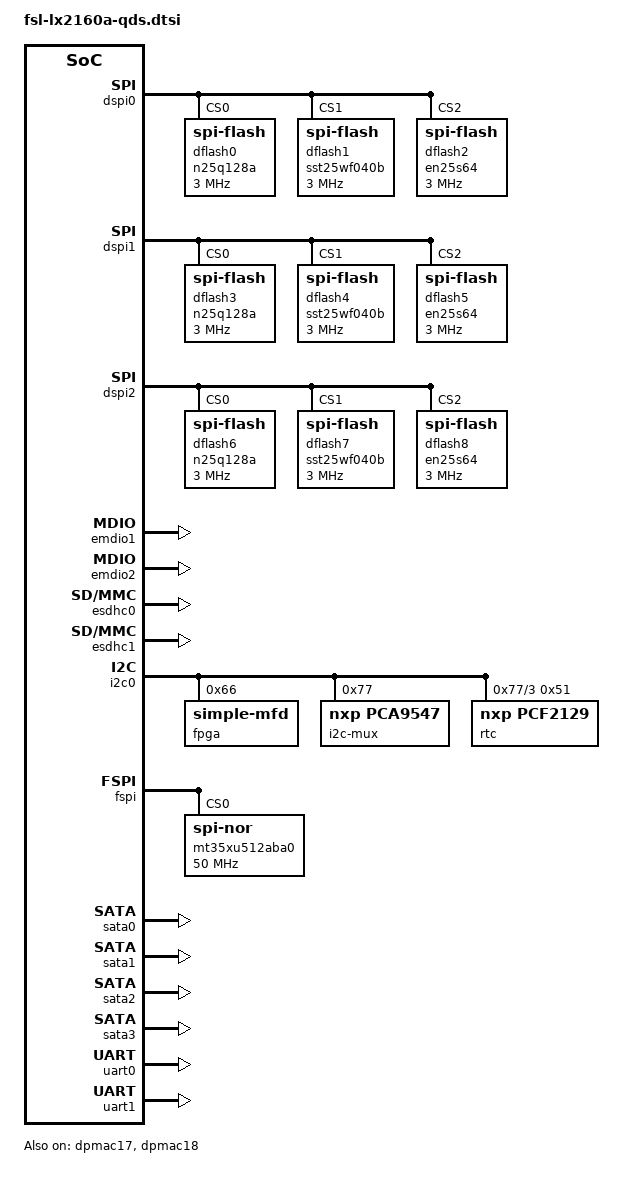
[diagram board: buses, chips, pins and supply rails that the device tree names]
// SPDX-License-Identifier: GPL-2.0+ OR X11
/*
 * NXP LX2160AQDS common device tree source
 *
 * Copyright 2018-2020, 2023 NXP
 *
 */

#include "fsl-lx2160a.dtsi"

/ {
	aliases {
		spi0 = &fspi;
		serial0 = &uart0;
	};
};

&dpmac17 {
	status = "okay";
	phy-handle = <&rgmii_phy1>;
	phy-connection-type = "rgmii-id";
};

&dpmac18 {
	status = "okay";
	phy-handle = <&rgmii_phy2>;
	phy-connection-type = "rgmii-id";
};

&dspi0 {
	bus-num = <0>;
	status = "okay";

	dflash0: n25q128a {
		#address-cells = <1>;
		#size-cells = <1>;
		compatible = "spi-flash";
		spi-max-frequency = <3000000>;
		spi-cpol;
		spi-cpha;
		reg = <0>;
	};
	dflash1: sst25wf040b {
		#address-cells = <1>;
		#size-cells = <1>;
		compatible = "spi-flash";
		spi-max-frequency = <3000000>;
		spi-cpol;
		spi-cpha;
		reg = <1>;
	};
	dflash2: en25s64 {
		#address-cells = <1>;
		#size-cells = <1>;
		compatible = "spi-flash";
		spi-max-frequency = <3000000>;
		spi-cpol;
		spi-cpha;
		reg = <2>;
	};
};

&dspi1 {
	bus-num = <0>;
	status = "okay";

	dflash3: n25q128a {
		#address-cells = <1>;
		#size-cells = <1>;
		compatible = "spi-flash";
		spi-max-frequency = <3000000>;
		spi-cpol;
		spi-cpha;
		reg = <0>;
	};
	dflash4: sst25wf040b {
		#address-cells = <1>;
		#size-cells = <1>;
		compatible = "spi-flash";
		spi-max-frequency = <3000000>;
		spi-cpol;
		spi-cpha;
		reg = <1>;
	};
	dflash5: en25s64 {
		#address-cells = <1>;
		#size-cells = <1>;
		compatible = "spi-flash";
		spi-max-frequency = <3000000>;
		spi-cpol;
		spi-cpha;
		reg = <2>;
	};
};

&dspi2 {
	bus-num = <0>;
	status = "okay";

	dflash6: n25q128a {
		#address-cells = <1>;
		#size-cells = <1>;
		compatible = "spi-flash";
		spi-max-frequency = <3000000>;
		spi-cpol;
		spi-cpha;
		reg = <0>;
	};
	dflash7: sst25wf040b {
		#address-cells = <1>;
		#size-cells = <1>;
		compatible = "spi-flash";
		spi-max-frequency = <3000000>;
		spi-cpol;
		spi-cpha;
		reg = <1>;
	};
	dflash8: en25s64 {
		#address-cells = <1>;
		#size-cells = <1>;
		compatible = "spi-flash";
		spi-max-frequency = <3000000>;
		spi-cpol;
		spi-cpha;
		reg = <2>;
	};
};

&emdio1 {
	status = "okay";
};

&emdio2 {
	status = "okay";
};

&esdhc0 {
	status = "okay";
};

&esdhc1 {
	status = "okay";
};

&i2c0 {
	status = "okay";
	bootph-all;

	fpga@66 {
		#address-cells = <1>;
		#size-cells = <0>;
		compatible = "simple-mfd";
		reg = <0x66>;

		mux-mdio@54 {
			#address-cells = <1>;
			#size-cells = <0>;
			compatible = "mdio-mux-i2creg";
			reg = <0x54>;
			#mux-control-cells = <1>;
			mux-reg-masks = <0x54 0xf8>; // reg 0x54, bits 7:3
			mdio-parent-bus = <&emdio1>;

			mdio@00 {
				#address-cells = <1>;
				#size-cells = <0>;
				reg = <0x00>;

				rgmii_phy1: ethernet-phy@1 {
					reg = <0x1>;
				};
			};
			mdio@08 {
				#address-cells = <1>;
				#size-cells = <0>;
				reg = <0x40>;

				rgmii_phy2: ethernet-phy@2 {
					reg = <0x2>;
				};
			};

			emdio1_slot1: mdio@c0 { /* I/O Slot #1 */
				reg = <0xC0>;
				device-name = "emdio1_slot1";
				#address-cells = <1>;
				#size-cells = <0>;
			};

			emdio1_slot2: mdio@c8 { /* I/O Slot #2 */
				reg = <0xC8>;
				device-name = "emdio1_slot2";
				#address-cells = <1>;
				#size-cells = <0>;
			};

			emdio1_slot3: mdio@d0 { /* I/O Slot #3 */
				reg = <0xD0>;
				device-name = "emdio1_slot3";
				#address-cells = <1>;
				#size-cells = <0>;
			};

			emdio1_slot4: mdio@d8 { /* I/O Slot #4 */
				reg = <0xD8>;
				device-name = "emdio1_slot4";
				#address-cells = <1>;
				#size-cells = <0>;
			};

			emdio1_slot5: mdio@e0 { /* I/O Slot #5 */
				reg = <0xE0>;
				device-name = "emdio1_slot5";
				#address-cells = <1>;
				#size-cells = <0>;
			};

			emdio1_slot6: mdio@e8 { /* I/O Slot #6 */
				reg = <0xE8>;
				device-name = "emdio1_slot6";
				#address-cells = <1>;
				#size-cells = <0>;
			};

			emdio1_slot7: mdio@f0 { /* I/O Slot #7 */
				reg = <0xF0>;
				device-name = "emdio1_slot7";
				#address-cells = <1>;
				#size-cells = <0>;
			};

			emdio1_slot8: mdio@f8 { /* I/O Slot #8 */
				reg = <0xF8>;
				device-name = "emdio1_slot8";
				#address-cells = <1>;
				#size-cells = <0>;
			};
		};

	};

	i2c-mux@77 {
		compatible = "nxp,pca9547";
		reg = <0x77>;
		#address-cells = <1>;
		#size-cells = <0>;

		i2c@3 {
			#address-cells = <1>;
			#size-cells = <0>;
			reg = <0x3>;

			rtc@51 {
				compatible = "nxp,pcf2129";
				reg = <0x51>;
			};
		};
	};
};

&fspi {
	status = "okay";

	mt35xu512aba0: flash@0 {
		#address-cells = <1>;
		#size-cells = <1>;
		compatible = "jedec,spi-nor";
		spi-max-frequency = <50000000>;
		reg = <0>;
		spi-rx-bus-width = <8>;
		spi-tx-bus-width = <1>;
	};
};

&sata0 {
	status = "okay";
};

&sata1 {
	status = "okay";
};

&sata2 {
	status = "okay";
};

&sata3 {
	status = "okay";
};

&uart0 {
	status = "okay";
};

&uart1 {
	status = "okay";
};
